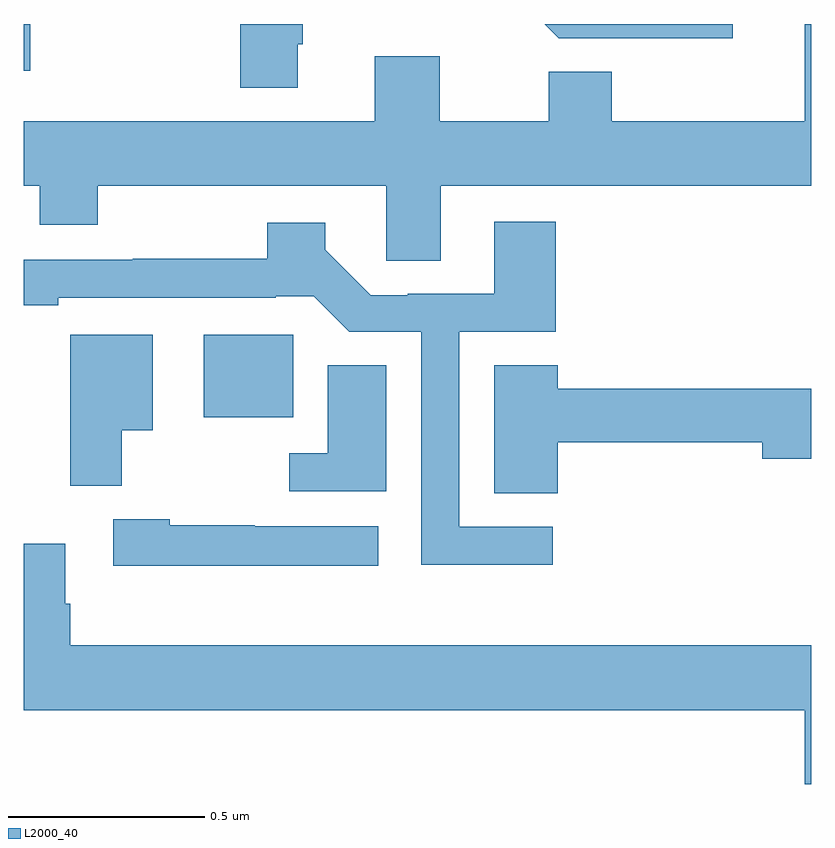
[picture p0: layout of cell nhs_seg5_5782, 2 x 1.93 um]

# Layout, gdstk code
import gdstk
lib = gdstk.Library(unit=1e-6, precision=1e-09)
def R(c, l, rs):  # rectangles x0, y0, x1, y1
    for r in rs: c.add(gdstk.rectangle(r[:2], r[2:], *l))
def P(c, l, *ps):  # polygons
    for p in ps: c.add(gdstk.Polygon(p, *l))
L2000_40 = (2000, 40)

nhs_seg5_5782 = lib.new_cell('nhs_seg5_5782')
R(nhs_seg5_5782, L2000_40, [(187.457,894.8,187.684,895.009), (187,895.68,187.016,895.799)])
P(nhs_seg5_5782, L2000_40, [(188.059,895.388),(189,895.388),(189,895.799),(188.984,895.799),(188.984,895.552),(188.494,895.552),(188.494,895.678),(188.333,895.678),(188.333,895.552),(188.056,895.552),(188.056,895.717),(187.892,895.717),(187.892,895.552),(187,895.552),(187,895.388),(187.04,895.388),(187.04,895.289),(187.188,895.289),(187.188,895.388),(187.92,895.388),(187.92,895.198),(188.059,895.198)],
  [(188.801,895.799),(188.323,895.799),(188.359,895.763),(188.801,895.763)],
  [(187.696,895.747),(187.709,895.747),(187.709,895.799),(187.55,895.799),(187.55,895.637),(187.696,895.637)],
  [(188.344,894.522),(188.106,894.522),(188.106,895.017),(188.351,895.017),(188.351,895.297),(188.195,895.297),(188.195,895.113),(187.975,895.113),(187.975,895.11),(187.881,895.11),(187.765,895.226),(187.765,895.294),(187.618,895.294),(187.618,895.202),(187.276,895.202),(187.276,895.2),(187,895.2),(187,895.084),(187.087,895.084),(187.087,895.104),(187.64,895.104),(187.64,895.107),(187.736,895.107),(187.826,895.017),(188.01,895.017),(188.01,894.425),(188.344,894.425)],
  [(187.248,894.767),(187.327,894.767),(187.327,895.009),(187.118,895.009),(187.118,894.626),(187.248,894.626)],
  [(187.921,894.932),(187.772,894.932),(187.772,894.708),(187.674,894.708),(187.674,894.612),(187.921,894.612)],
  [(188.356,894.736),(188.876,894.736),(188.876,894.694),(189,894.694),(189,894.872),(188.356,894.872),(188.356,894.932),(188.195,894.932),(188.195,894.607),(188.356,894.607)],
  [(187.9,894.523),(187.586,894.523),(187.586,894.526),(187.371,894.526),(187.371,894.541),(187.227,894.541),(187.227,894.422),(187.9,894.422)],
  [(189,894.22),(187.118,894.22),(187.118,894.326),(187.105,894.326),(187.105,894.478),(187,894.478),(187,894.056),(188.984,894.056),(188.984,893.868),(189,893.868)])

lib.write_gds('nhs_seg5_5782.gds')
